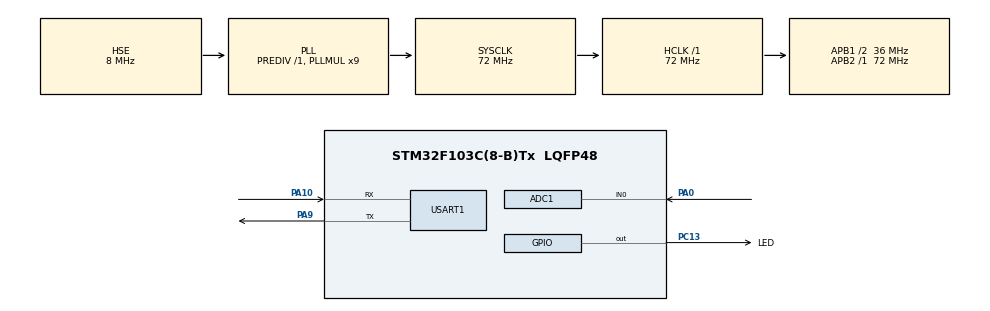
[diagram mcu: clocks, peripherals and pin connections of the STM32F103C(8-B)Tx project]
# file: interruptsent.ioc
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ADC1.Channel-2\#ChannelRegularConversion=ADC_CHANNEL_0
ADC1.NbrOfConversionFlag=1
ADC1.Rank-2\#ChannelRegularConversion=1
ADC1.SamplingTime-2\#ChannelRegularConversion=ADC_SAMPLETIME_1CYCLE_5
ADC1.master=1
Mcu.Family=STM32F1
Mcu.Name=STM32F103C(8-B)Tx
Mcu.Package=LQFP48
NVIC.PriorityGroup=NVIC_PRIORITYGROUP_4
NVIC.USART1_IRQn=true\:0\:0\:false\:false\:true\:true\:true\:true
PA0-WKUP.Signal=ADCx_IN0
PA10.Mode=Asynchronous
PA10.Signal=USART1_RX
PA13.Mode=Serial_Wire
PA13.Signal=SYS_JTMS-SWDIO
PA14.Mode=Serial_Wire
PA14.Signal=SYS_JTCK-SWCLK
PA9.Mode=Asynchronous
PA9.Signal=USART1_TX
PC13-TAMPER-RTC.GPIO_Label=LED
PC13-TAMPER-RTC.PinState=GPIO_PIN_SET
PC13-TAMPER-RTC.Signal=GPIO_Output
PD0-OSC_IN.Mode=HSE-External-Oscillator
PD0-OSC_IN.Signal=RCC_OSC_IN
PD1-OSC_OUT.Mode=HSE-External-Oscillator
PD1-OSC_OUT.Signal=RCC_OSC_OUT
ProjectManager.HeapSize=0x200
ProjectManager.StackSize=0x400
ProjectManager.TargetToolchain=CMake
RCC.ADCPresc=RCC_ADCPCLK2_DIV6
RCC.AHBFreq_Value=72000000
RCC.APB1CLKDivider=RCC_HCLK_DIV2
RCC.APB1Freq_Value=36000000
RCC.APB1TimFreq_Value=72000000
RCC.APB2Freq_Value=72000000
RCC.APB2TimFreq_Value=72000000
RCC.HCLKFreq_Value=72000000
RCC.PLLMUL=RCC_PLL_MUL9
RCC.PLLSourceVirtual=RCC_PLLSOURCE_HSE
RCC.SYSCLKFreq_VALUE=72000000
RCC.SYSCLKSource=RCC_SYSCLKSOURCE_PLLCLK
RCC.USBFreq_Value=72000000
SH.ADCx_IN0.0=ADC1_IN0,IN0
USART1.VirtualMode=VM_ASYNC
board=custom

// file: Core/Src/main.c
/* USER CODE BEGIN Header */
/**
  ******************************************************************************
  * @file           : main.c
  * @brief          : Main program body
  ******************************************************************************
  * @attention
  *
  * Copyright (c) 2026 STMicroelectronics.
  * All rights reserved.
  *
  * This software is licensed under terms that can be found in the LICENSE file
  * in the root directory of this software component.
  * If no LICENSE file comes with this software, it is provided AS-IS.
  *
  ******************************************************************************
  */
/* USER CODE END Header */
#include "main.h"

ADC_HandleTypeDef hadc1;

UART_HandleTypeDef huart1;

/* USER CODE BEGIN PV */
volatile uint8_t mode = 0U;
uint32_t         last_toggle_tick = 0U;

uint8_t          rx_byte  = 0U;
volatile uint8_t rx_cmd   = 0U;
volatile uint8_t rx_ready = 0U;
/* USER CODE END PV */

void SystemClock_Config(void);
static void MX_GPIO_Init(void);
static void MX_USART1_UART_Init(void);
static void MX_ADC1_Init(void);

/* USER CODE BEGIN 0 */
static void uart_send(const char *s)
{
  uint16_t len = 0U;

  while (s[len] != '\0')
  {
    len++;
  }
  HAL_UART_Transmit(&huart1, (uint8_t *)s, len, 100U);
}

static void uart_report_mode(uint8_t m)
{
  char buf[10];

  buf[0] = 'M';
  buf[1] = 'O';
  buf[2] = 'D';
  buf[3] = 'E';
  buf[4] = ' ';
  buf[5] = (char)('0' + m);
  buf[6] = '\r';
  buf[7] = '\n';

  HAL_UART_Transmit(&huart1, (uint8_t *)buf, 8U, 100U);
}
/* USER CODE END 0 */

int main(void)
{

  /* MCU Configuration--------------------------------------------------------*/

  /* Reset of all peripherals, Initializes the Flash interface and the Systick. */
  HAL_Init();

  /* Configure the system clock */
  SystemClock_Config();

  /* Initialize all configured peripherals */
  MX_GPIO_Init();
  MX_USART1_UART_Init();
  MX_ADC1_Init();
  /* USER CODE BEGIN 2 */
  uart_send("MODE Ctrl: 0=off 1=slow 2=fast 3=on\r\n");

  mode             = 0U;
  last_toggle_tick = HAL_GetTick();

  HAL_UART_Receive_IT(&huart1, &rx_byte, 1U);
  /* USER CODE END 2 */

  /* Infinite loop */
  while (1)
  {

    /* USER CODE BEGIN 3 */
    if (rx_ready != 0U)
    {
      uint8_t cmd = rx_cmd;
      rx_ready = 0U;

      if ((cmd >= '0') && (cmd <= '3'))
      {
        mode = (uint8_t)(cmd - '0');
        uart_report_mode(mode);
      }
      else if ((cmd != '\r') && (cmd != '\n'))
      {
        uart_send("? use 0-3\r\n");
      }
    }

    switch (mode)
    {
      case 0U:
        HAL_GPIO_WritePin(LED_GPIO_Port, LED_Pin, GPIO_PIN_SET);
        break;

      case 3U:
        HAL_GPIO_WritePin(LED_GPIO_Port, LED_Pin, GPIO_PIN_RESET);
        break;

      case 1U:
      case 2U:
      {
        uint32_t interval = (mode == 1U) ? 500U : 100U;

        if ((HAL_GetTick() - last_toggle_tick) >= interval)
        {
          last_toggle_tick = HAL_GetTick();
          HAL_GPIO_TogglePin(LED_GPIO_Port, LED_Pin);
        }
        break;
      }

      default:
        mode = 0U;
        break;
    }
  }
  /* USER CODE END 3 */
}

void SystemClock_Config(void)
{
  RCC_OscInitTypeDef RCC_OscInitStruct = {0};
  RCC_ClkInitTypeDef RCC_ClkInitStruct = {0};
  RCC_PeriphCLKInitTypeDef PeriphClkInit = {0};

  /** Initializes the RCC Oscillators according to the specified parameters
  * in the RCC_OscInitTypeDef structure.
  */
  RCC_OscInitStruct.OscillatorType = RCC_OSCILLATORTYPE_HSE;
  RCC_OscInitStruct.HSEState = RCC_HSE_ON;
  RCC_OscInitStruct.HSEPredivValue = RCC_HSE_PREDIV_DIV1;
  RCC_OscInitStruct.HSIState = RCC_HSI_ON;
  RCC_OscInitStruct.PLL.PLLState = RCC_PLL_ON;
  RCC_OscInitStruct.PLL.PLLSource = RCC_PLLSOURCE_HSE;
  RCC_OscInitStruct.PLL.PLLMUL = RCC_PLL_MUL9;
  if (HAL_RCC_OscConfig(&RCC_OscInitStruct) != HAL_OK)
  {
    Error_Handler();
  }

  /** Initializes the CPU, AHB and APB buses clocks
  */
  RCC_ClkInitStruct.ClockType = RCC_CLOCKTYPE_HCLK|RCC_CLOCKTYPE_SYSCLK
                              |RCC_CLOCKTYPE_PCLK1|RCC_CLOCKTYPE_PCLK2;
  RCC_ClkInitStruct.SYSCLKSource = RCC_SYSCLKSOURCE_PLLCLK;
  RCC_ClkInitStruct.AHBCLKDivider = RCC_SYSCLK_DIV1;
  RCC_ClkInitStruct.APB1CLKDivider = RCC_HCLK_DIV2;
  RCC_ClkInitStruct.APB2CLKDivider = RCC_HCLK_DIV1;

  if (HAL_RCC_ClockConfig(&RCC_ClkInitStruct, FLASH_LATENCY_2) != HAL_OK)
  {
    Error_Handler();
  }
  PeriphClkInit.PeriphClockSelection = RCC_PERIPHCLK_ADC;
  PeriphClkInit.AdcClockSelection = RCC_ADCPCLK2_DIV6;
  if (HAL_RCCEx_PeriphCLKConfig(&PeriphClkInit) != HAL_OK)
  {
    Error_Handler();
  }
}

static void MX_ADC1_Init(void)
{

  ADC_ChannelConfTypeDef sConfig = {0};

  /** Common config
  */
  hadc1.Instance = ADC1;
  hadc1.Init.ScanConvMode = ADC_SCAN_DISABLE;
  hadc1.Init.ContinuousConvMode = DISABLE;
  hadc1.Init.DiscontinuousConvMode = DISABLE;
  hadc1.Init.ExternalTrigConv = ADC_SOFTWARE_START;
  hadc1.Init.DataAlign = ADC_DATAALIGN_RIGHT;
  hadc1.Init.NbrOfConversion = 1;
  if (HAL_ADC_Init(&hadc1) != HAL_OK)
  {
    Error_Handler();
  }

  /** Configure Regular Channel
  */
  sConfig.Channel = ADC_CHANNEL_0;
  sConfig.Rank = ADC_REGULAR_RANK_1;
  sConfig.SamplingTime = ADC_SAMPLETIME_1CYCLE_5;
  if (HAL_ADC_ConfigChannel(&hadc1, &sConfig) != HAL_OK)
  {
    Error_Handler();
  }

}

static void MX_USART1_UART_Init(void)
{

  huart1.Instance = USART1;
  huart1.Init.BaudRate = 115200;
  huart1.Init.WordLength = UART_WORDLENGTH_8B;
  huart1.Init.StopBits = UART_STOPBITS_1;
  huart1.Init.Parity = UART_PARITY_NONE;
  huart1.Init.Mode = UART_MODE_TX_RX;
  huart1.Init.HwFlowCtl = UART_HWCONTROL_NONE;
  huart1.Init.OverSampling = UART_OVERSAMPLING_16;
  if (HAL_UART_Init(&huart1) != HAL_OK)
  {
    Error_Handler();
  }

}

static void MX_GPIO_Init(void)
{
  GPIO_InitTypeDef GPIO_InitStruct = {0};

  /* GPIO Ports Clock Enable */
  __HAL_RCC_GPIOC_CLK_ENABLE();
  __HAL_RCC_GPIOD_CLK_ENABLE();
  __HAL_RCC_GPIOA_CLK_ENABLE();

  /*Configure GPIO pin Output Level */
  HAL_GPIO_WritePin(LED_GPIO_Port, LED_Pin, GPIO_PIN_SET);

  /*Configure GPIO pin : LED_Pin */
  GPIO_InitStruct.Pin = LED_Pin;
  GPIO_InitStruct.Mode = GPIO_MODE_OUTPUT_PP;
  GPIO_InitStruct.Pull = GPIO_NOPULL;
  GPIO_InitStruct.Speed = GPIO_SPEED_FREQ_LOW;
  HAL_GPIO_Init(LED_GPIO_Port, &GPIO_InitStruct);

}

/* USER CODE BEGIN 4 */
void HAL_UART_RxCpltCallback(UART_HandleTypeDef *huart)
{
  if (huart->Instance == USART1)
  {
    rx_cmd   = rx_byte;
    rx_ready = 1U;

    /* 重新挂上接收，否则只能收到一个字节 */
    HAL_UART_Receive_IT(&huart1, &rx_byte, 1U);
  }
}
/* USER CODE END 4 */

void Error_Handler(void)
{
  __disable_irq();
  while (1)
  {
  }
}
